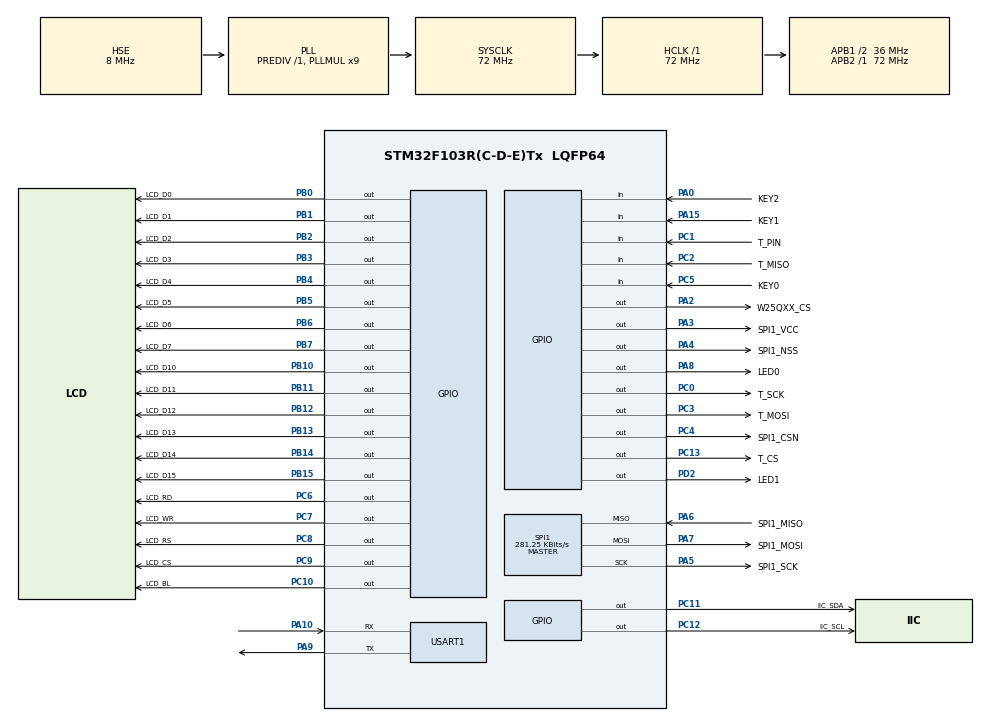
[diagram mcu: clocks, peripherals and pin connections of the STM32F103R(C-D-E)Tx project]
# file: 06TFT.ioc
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PC10.GPIO_PuPd=GPIO_PULLUP
SPI1.VirtualType=VM_MASTER
PB10.GPIO_PuPd=GPIO_PULLUP
PA15.GPIO_Mode=GPIO_MODE_INPUT
PC12.Signal=GPIO_Output
PB14.GPIO_Label=LCD_D14
PA3.GPIO_PuPd=GPIO_PULLUP
PC6.GPIO_Label=LCD_RD
PC0.GPIO_ModeDefaultOutputPP=GPIO_MODE_OUTPUT_PP
PA6.GPIO_Label=SPI1_MISO
PB6.GPIO_Label=LCD_D6
PA3.GPIO_Speed=GPIO_SPEED_FREQ_HIGH
PB13.Signal=GPIO_Output
PB3.GPIO_Speed=GPIO_SPEED_FREQ_HIGH
PC3.GPIO_Speed=GPIO_SPEED_FREQ_HIGH
RCC.SYSCLKSource=RCC_SYSCLKSOURCE_PLLCLK
PB11.GPIO_Speed=GPIO_SPEED_FREQ_HIGH
Dma.USART1_TX.0.Direction=DMA_MEMORY_TO_PERIPH
SPI1.Direction=SPI_DIRECTION_2LINES
RCC.APB2TimFreq_Value=72000000
PB6.Signal=GPIO_Output
PC7.Signal=GPIO_Output
SPI1.CalculateBaudRate=281.25 KBits/s
PB15.GPIO_ModeDefaultOutputPP=GPIO_MODE_OUTPUT_PP
PC3.Signal=GPIO_Output
PB2.Signal=GPIO_Output
PB12.GPIO_ModeDefaultOutputPP=GPIO_MODE_OUTPUT_PP
PC1.GPIO_PuPd=GPIO_PULLUP
PB12.GPIO_Label=LCD_D12
PC4.GPIO_Label=SPI1_CSN
PB1.GPIO_Speed=GPIO_SPEED_FREQ_HIGH
PB1.GPIO_Label=LCD_D1
PC11.GPIO_Speed=GPIO_SPEED_FREQ_HIGH
PA8.Signal=GPIO_Output
PA8.GPIO_ModeDefaultOutputPP=GPIO_MODE_OUTPUT_PP
PC13-TAMPER-RTC.GPIO_Speed=GPIO_SPEED_FREQ_HIGH
Dma.USART1_TX.0.PeriphDataAlignment=DMA_PDATAALIGN_BYTE
PB2.GPIO_PuPd=GPIO_PULLUP
PC10.GPIO_ModeDefaultOutputPP=GPIO_MODE_OUTPUT_PP
Mcu.Package=LQFP64
PB1.Signal=GPIO_Output
PB14.GPIO_PuPd=GPIO_PULLUP
PA2.GPIO_ModeDefaultOutputPP=GPIO_MODE_OUTPUT_PP
PC13-TAMPER-RTC.GPIO_PuPd=GPIO_PULLUP
PB6.GPIO_ModeDefaultOutputPP=GPIO_MODE_OUTPUT_PP
PA10.Signal=USART1_RX
PC6.GPIO_PuPd=GPIO_PULLUP
PC8.GPIO_Speed=GPIO_SPEED_FREQ_HIGH
PB5.GPIO_Speed=GPIO_SPEED_FREQ_HIGH
RCC.APB1TimFreq_Value=72000000
PB0.GPIO_ModeDefaultOutputPP=GPIO_MODE_OUTPUT_PP
PC12.GPIO_PuPd=GPIO_PULLUP
NVIC.DMA1_Channel4_IRQn=true\:0\:0\:false\:false\:true\:false\:true
NVIC.USART1_IRQn=true\:0\:1\:false\:false\:true\:true\:true
PB2.GPIO_ModeDefaultOutputPP=GPIO_MODE_OUTPUT_PP
PA4.GPIO_Label=SPI1_NSS
PC6.GPIO_Speed=GPIO_SPEED_FREQ_HIGH
PA8.GPIO_Speed=GPIO_SPEED_FREQ_HIGH
PC6.GPIO_ModeDefaultOutputPP=GPIO_MODE_OUTPUT_PP
PA5.Mode=Full_Duplex_Master
PB7.GPIO_PuPd=GPIO_PULLUP
PB5.GPIO_ModeDefaultOutputPP=GPIO_MODE_OUTPUT_PP
PC7.GPIO_ModeDefaultOutputPP=GPIO_MODE_OUTPUT_PP
PA3.GPIO_ModeDefaultOutputPP=GPIO_MODE_OUTPUT_PP
PC4.PinState=GPIO_PIN_SET
PD2.GPIO_PuPd=GPIO_PULLUP
PB6.GPIO_PuPd=GPIO_PULLUP
PC2.Signal=GPIO_Input
PC6.Signal=GPIO_Output
PB11.GPIO_Label=LCD_D11
PC12.GPIO_ModeDefaultOutputPP=GPIO_MODE_OUTPUT_PP
SPI1.CLKPhase=SPI_PHASE_2EDGE
PC0.Signal=GPIO_Output
RCC.APB1CLKDivider=RCC_HCLK_DIV2
PA0-WKUP.GPIO_Label=KEY2
PA0-WKUP.Signal=GPIO_Input
PA8.GPIO_Label=LED0
PB14.GPIO_Speed=GPIO_SPEED_FREQ_HIGH
PA9.Signal=USART1_TX
PB13.GPIO_Speed=GPIO_SPEED_FREQ_HIGH
PB4.GPIO_PuPd=GPIO_PULLUP
PC7.GPIO_PuPd=GPIO_PULLUP
PB11.GPIO_ModeDefaultOutputPP=GPIO_MODE_OUTPUT_PP
PB10.Signal=GPIO_Output
PB14.Signal=GPIO_Output
PA5.Signal=SPI1_SCK
PC13-TAMPER-RTC.GPIO_Label=T_CS
PB13.GPIO_PuPd=GPIO_PULLUP
PB4.GPIO_Label=LCD_D4
PB15.GPIO_Label=LCD_D15
SPI1.Mode=SPI_MODE_MASTER
PC9.GPIO_PuPd=GPIO_PULLUP
PC11.GPIO_ModeDefaultOutputPP=GPIO_MODE_OUTPUT_PP
PA13.Mode=Serial_Wire
PC7.GPIO_Label=LCD_WR
PC8.GPIO_PuPd=GPIO_PULLUP
PA4.Signal=GPIO_Output
PC13-TAMPER-RTC.GPIO_ModeDefaultOutputPP=GPIO_MODE_OUTPUT_PP
PB5.Signal=GPIO_Output
PA5.GPIO_Label=SPI1_SCK
PB5.GPIO_PuPd=GPIO_PULLUP
PC12.GPIO_Label=IIC_SCL
USART1.VirtualMode=VM_ASYNC
PC5.GPIO_Mode=GPIO_MODE_INPUT
ProjectManager.HeapSize=0x200
PC9.GPIO_Speed=GPIO_SPEED_FREQ_HIGH
NVIC.PriorityGroup=NVIC_PRIORITYGROUP_2
PC3.GPIO_Label=T_MOSI
PA0-WKUP.GPIO_PuPd=GPIO_PULLDOWN
PA3.PinState=GPIO_PIN_SET
PC3.GPIO_ModeDefaultOutputPP=GPIO_MODE_OUTPUT_PP
PB1.GPIO_ModeDefaultOutputPP=GPIO_MODE_OUTPUT_PP
PD2.Signal=GPIO_Output
PB6.GPIO_Speed=GPIO_SPEED_FREQ_HIGH
PB12.GPIO_PuPd=GPIO_PULLUP
PB0.Signal=GPIO_Output
PC1.Signal=GPIO_Input
PD2.GPIO_Label=LED1
Mcu.Family=STM32F1
PA2.GPIO_PuPd=GPIO_PULLUP
PA6.Mode=Full_Duplex_Master
PD2.GPIO_ModeDefaultOutputPP=GPIO_MODE_OUTPUT_PP
PB10.GPIO_Speed=GPIO_SPEED_FREQ_HIGH
PC10.Signal=GPIO_Output
PB2.GPIO_Speed=GPIO_SPEED_FREQ_HIGH
PA2.GPIO_Speed=GPIO_SPEED_FREQ_HIGH
PC0.GPIO_Label=T_SCK
PD2.GPIO_Speed=GPIO_SPEED_FREQ_HIGH
PB0.GPIO_Label=LCD_D0
PC10.GPIO_Speed=GPIO_SPEED_FREQ_HIGH
PB11.GPIO_PuPd=GPIO_PULLUP
PB13.GPIO_Label=LCD_D13
PB11.Signal=GPIO_Output
PB15.Signal=GPIO_Output
ProjectManager.StackSize=0x400
PD1-OSC_OUT.Signal=RCC_OSC_OUT
PA15.GPIO_Label=KEY1
PC11.GPIO_PuPd=GPIO_PULLUP
PB10.GPIO_ModeDefaultOutputPP=GPIO_MODE_OUTPUT_PP
Dma.USART1_TX.0.Priority=DMA_PRIORITY_LOW
SPI1.CLKPolarity=SPI_POLARITY_HIGH
PB1.GPIO_PuPd=GPIO_PULLUP
RCC.HCLKFreq_Value=72000000
PB13.GPIO_ModeDefaultOutputPP=GPIO_MODE_OUTPUT_PP
RCC.AHBFreq_Value=72000000
PA4.GPIO_PuPd=GPIO_PULLUP
RCC.PLLMUL=RCC_PLL_MUL9
PA4.GPIO_Speed=GPIO_SPEED_FREQ_HIGH
PC4.GPIO_Speed=GPIO_SPEED_FREQ_HIGH
PA2.PinState=GPIO_PIN_SET
PB3.GPIO_PuPd=GPIO_PULLUP
PA14.Mode=Serial_Wire
PC11.GPIO_Label=IIC_SDA
PB7.Signal=GPIO_Output
PB7.GPIO_Label=LCD_D7
PA6.Signal=SPI1_MISO
PB15.GPIO_PuPd=GPIO_PULLUP
PA2.GPIO_Label=W25QXX_CS
PC8.GPIO_ModeDefaultOutputPP=GPIO_MODE_OUTPUT_PP
PA15.Signal=GPIO_Input
Dma.USART1_TX.0.Instance=DMA1_Channel4
PA4.GPIO_ModeDefaultOutputPP=GPIO_MODE_OUTPUT_PP
PB5.GPIO_Label=LCD_D5
PC5.Signal=GPIO_Input
PC0.GPIO_PuPd=GPIO_PULLUP
PC4.GPIO_ModeDefaultOutputPP=GPIO_MODE_OUTPUT_PP
Dma.Request0=USART1_TX
SPI1.BaudRatePrescaler=SPI_BAUDRATEPRESCALER_256
PC2.GPIO_Label=T_MISO
PA8.PinState=GPIO_PIN_SET
PB4.Signal=GPIO_Output
PB4.GPIO_ModeDefaultOutputPP=GPIO_MODE_OUTPUT_PP
PA3.Signal=GPIO_Output
PB7.GPIO_Speed=GPIO_SPEED_FREQ_HIGH
PB3.GPIO_Label=LCD_D3
RCC.PLLSourceVirtual=RCC_PLLSOURCE_HSE
Dma.USART1_TX.0.MemInc=DMA_MINC_ENABLE
PA7.Mode=Full_Duplex_Master
PD1-OSC_OUT.Mode=HSE-External-Oscillator
Dma.USART1_TX.0.PeriphInc=DMA_PINC_DISABLE
PC10.GPIO_Label=LCD_BL
PA10.Mode=Asynchronous
PC9.GPIO_Label=LCD_CS
PC4.GPIO_PuPd=GPIO_PULLUP
PC11.Signal=GPIO_Output
PC8.Signal=GPIO_Output
PC4.Signal=GPIO_Output
PC13-TAMPER-RTC.Signal=GPIO_Output
PD0-OSC_IN.Signal=RCC_OSC_IN
PC5.GPIO_PuPd=GPIO_PULLUP
PB0.GPIO_Speed=GPIO_SPEED_FREQ_HIGH
PC8.GPIO_Label=LCD_RS
PA13.Signal=SYS_JTMS-SWDIO
PA9.Mode=Asynchronous
PC0.GPIO_Speed=GPIO_SPEED_FREQ_HIGH
PA4.PinState=GPIO_PIN_SET
ProjectManager.TargetToolchain=STM32CubeIDE
PB10.GPIO_Label=LCD_D10
RCC.USBFreq_Value=72000000
PB14.GPIO_ModeDefaultOutputPP=GPIO_MODE_OUTPUT_PP
PB12.GPIO_Speed=GPIO_SPEED_FREQ_HIGH
PD0-OSC_IN.Mode=HSE-External-Oscillator
PD2.PinState=GPIO_PIN_SET
Dma.USART1_TX.0.Mode=DMA_NORMAL
board=custom
PC7.GPIO_Speed=GPIO_SPEED_FREQ_HIGH
PB4.GPIO_Speed=GPIO_SPEED_FREQ_HIGH
RCC.APB2Freq_Value=72000000
PB7.GPIO_ModeDefaultOutputPP=GPIO_MODE_OUTPUT_PP
PB15.GPIO_Speed=GPIO_SPEED_FREQ_HIGH
PC9.GPIO_ModeDefaultOutputPP=GPIO_MODE_OUTPUT_PP
PC1.GPIO_Label=T_PIN
PC2.GPIO_PuPd=GPIO_PULLUP
Mcu.Name=STM32F103R(C-D-E)Tx
PA2.Signal=GPIO_Output
PB3.Signal=GPIO_Output
RCC.SYSCLKFreq_VALUE=72000000
PA7.GPIO_Label=SPI1_MOSI
PC5.GPIO_Label=KEY0
Dma.USART1_TX.0.MemDataAlignment=DMA_MDATAALIGN_BYTE
PA14.Signal=SYS_JTCK-SWCLK
PB2.GPIO_Label=LCD_D2
PA8.GPIO_PuPd=GPIO_PULLUP
PA15.GPIO_PuPd=GPIO_PULLUP
PC9.Signal=GPIO_Output
RCC.APB1Freq_Value=36000000
PC12.GPIO_Speed=GPIO_SPEED_FREQ_HIGH
PB12.Signal=GPIO_Output
PB0.GPIO_PuPd=GPIO_PULLUP
PC3.GPIO_PuPd=GPIO_PULLUP
PB3.GPIO_ModeDefaultOutputPP=GPIO_MODE_OUTPUT_PP
PA3.GPIO_Label=SPI1_VCC
PA7.Signal=SPI1_MOSI

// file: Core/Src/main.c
/* USER CODE BEGIN Header */
/**
  ******************************************************************************
  * @file           : main.c
  * @brief          : Main program body
  ******************************************************************************
  * @attention
  *
  * <h2><center>&copy; Copyright (c) 2021 STMicroelectronics.
  * All rights reserved.</center></h2>
  *
  * This software component is licensed by ST under BSD 3-Clause license,
  * the "License"; You may not use this file except in compliance with the
  * License. You may obtain a copy of the License at:
  *                        opensource.org/licenses/BSD-3-Clause
  *
  ******************************************************************************
  */
/* USER CODE END Header */
#include "main.h"
#include "dma.h"
#include "spi.h"
#include "usart.h"
#include "gpio.h"

/* USER CODE BEGIN Includes */
#include "lcd.h"
#include "touch.h"
#include "w25qxx.h"
#include "hmi_user_uart.h"
#include "hmi_driver.h"
/* USER CODE END Includes */

/* USER CODE BEGIN PD */
#define TP_CHECK(x0,y0,x1,y1) tp_dev.x[0] > x0 && tp_dev.y[0] > y0 && tp_dev.x[0] < x1 && tp_dev.y[0] < y1
/* USER CODE END PD */

void SystemClock_Config(void);

/* USER CODE BEGIN 0 */
extern u8 sendStatus,Txing_pos,Tx_pos;
/* USER CODE END 0 */

int main(void)
{
  /* USER CODE BEGIN 1 */
    u8 key;
  /* USER CODE END 1 */

  /* MCU Configuration--------------------------------------------------------*/

  /* Reset of all peripherals, Initializes the Flash interface and the Systick. */
  HAL_Init();

  /* Configure the system clock */
  SystemClock_Config();

  /* Initialize all configured peripherals */
  MX_GPIO_Init();
  MX_DMA_Init();
  MX_SPI1_Init();
  MX_USART1_UART_Init();
  /* USER CODE BEGIN 2 */
  delay_init(72);
  LCD_Init();
  font_init();
  tp_dev.init();
  TFT_Init();
  /* USER CODE END 2 */

  /* Infinite loop */
  while (1)
  {

    /* USER CODE BEGIN 3 */
	u16 Tx_size = Tx_stack_find_cmd(&TxBuffer);

    delay_ms(50);
    key = KEY_Scan(0);
    if(key == KEY0_PRES)
    {
	  SetButtonValue(3,1,0);
    }
    if(key == KEY1_PRES)
    {
	  SetButtonValue(3,1,1);
    }

	if(Tx_size && !sendStatus)
	{
		Txing_pos = Tx_pos;
		HAL_UART_Transmit_DMA(&huart1, TxBuffer, Tx_size);
		sendStatus = 1;
	}
  }
  /* USER CODE END 3 */
}

void SystemClock_Config(void)
{
  RCC_OscInitTypeDef RCC_OscInitStruct = {0};
  RCC_ClkInitTypeDef RCC_ClkInitStruct = {0};

  /** Initializes the RCC Oscillators according to the specified parameters
  * in the RCC_OscInitTypeDef structure.
  */
  RCC_OscInitStruct.OscillatorType = RCC_OSCILLATORTYPE_HSE;
  RCC_OscInitStruct.HSEState = RCC_HSE_ON;
  RCC_OscInitStruct.HSEPredivValue = RCC_HSE_PREDIV_DIV1;
  RCC_OscInitStruct.HSIState = RCC_HSI_ON;
  RCC_OscInitStruct.PLL.PLLState = RCC_PLL_ON;
  RCC_OscInitStruct.PLL.PLLSource = RCC_PLLSOURCE_HSE;
  RCC_OscInitStruct.PLL.PLLMUL = RCC_PLL_MUL9;
  if (HAL_RCC_OscConfig(&RCC_OscInitStruct) != HAL_OK)
  {
    Error_Handler();
  }
  /** Initializes the CPU, AHB and APB buses clocks
  */
  RCC_ClkInitStruct.ClockType = RCC_CLOCKTYPE_HCLK|RCC_CLOCKTYPE_SYSCLK
                              |RCC_CLOCKTYPE_PCLK1|RCC_CLOCKTYPE_PCLK2;
  RCC_ClkInitStruct.SYSCLKSource = RCC_SYSCLKSOURCE_PLLCLK;
  RCC_ClkInitStruct.AHBCLKDivider = RCC_SYSCLK_DIV1;
  RCC_ClkInitStruct.APB1CLKDivider = RCC_HCLK_DIV2;
  RCC_ClkInitStruct.APB2CLKDivider = RCC_HCLK_DIV1;

  if (HAL_RCC_ClockConfig(&RCC_ClkInitStruct, FLASH_LATENCY_2) != HAL_OK)
  {
    Error_Handler();
  }
}

void Error_Handler(void)
{
  __disable_irq();
  while (1)
  {
  }
}

/************************ (C) COPYRIGHT STMicroelectronics *****END OF FILE****/
